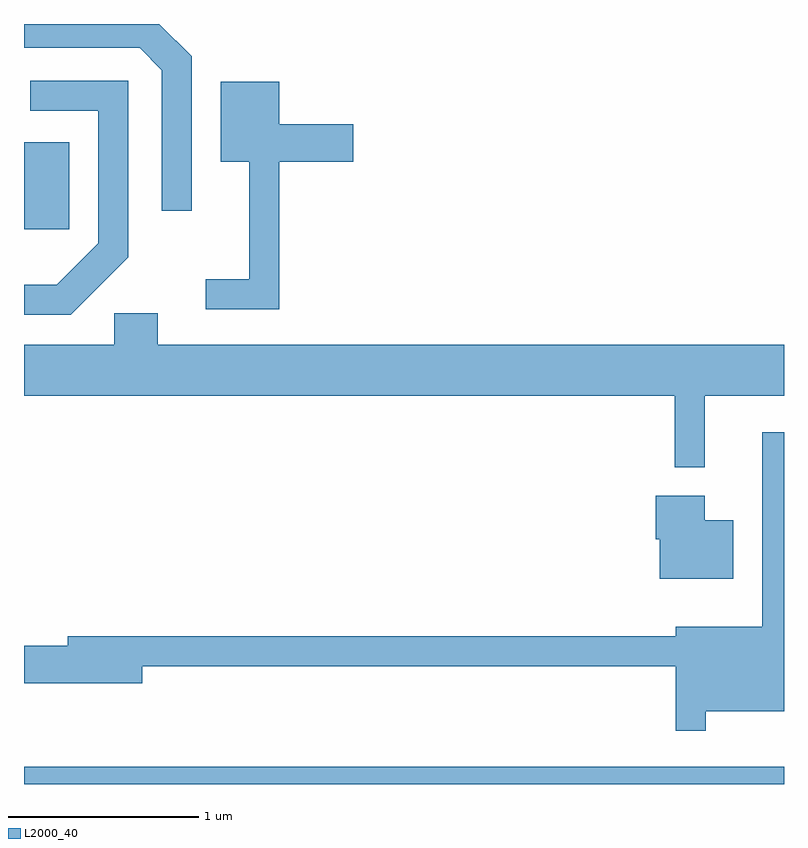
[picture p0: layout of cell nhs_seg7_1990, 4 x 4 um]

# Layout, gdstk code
import gdstk
lib = gdstk.Library(unit=1e-6, precision=1e-09)
def R(c, l, rs):  # rectangles x0, y0, x1, y1
    for r in rs: c.add(gdstk.rectangle(r[:2], r[2:], *l))
def P(c, l, *ps):  # polygons
    for p in ps: c.add(gdstk.Polygon(p, *l))
L2000_40 = (2000, 40)

nhs_seg7_1990 = lib.new_cell('nhs_seg7_1990')
R(nhs_seg7_1990, L2000_40, [(245.611,1732.252,249.611,1732.344), (245.611,1735.171,245.849,1735.629)])
P(nhs_seg7_1990, L2000_40, [(246.494,1736.082),(246.324,1736.252),(245.611,1736.252),(245.611,1736.126),(246.219,1736.126),(246.336,1736.009),(246.336,1735.268),(246.494,1735.268)],
  [(246.159,1735.024),(246.159,1735.954),(245.643,1735.954),(245.643,1735.796),(246.001,1735.796),(246.001,1735.097),(245.784,1734.879),(245.611,1734.879),(245.611,1734.721),(245.857,1734.721)],
  [(246.954,1735.526),(247.344,1735.526),(247.344,1735.724),(246.954,1735.724),(246.954,1735.949),(246.646,1735.949),(246.646,1735.526),(246.796,1735.526),(246.796,1734.909),(246.568,1734.909),(246.568,1734.751),(246.954,1734.751)],
  [(249.194,1734.296),(249.611,1734.296),(249.611,1734.564),(246.314,1734.564),(246.314,1734.729),(246.086,1734.729),(246.086,1734.564),(245.611,1734.564),(245.611,1734.296),(249.036,1734.296),(249.036,1733.918),(249.194,1733.918)],
  [(249.199,1732.636),(249.611,1732.636),(249.611,1734.103),(249.496,1734.103),(249.496,1733.079),(249.041,1733.079),(249.041,1733.029),(245.841,1733.029),(245.841,1732.979),(245.611,1732.979),(245.611,1732.781),(246.234,1732.781),(246.234,1732.871),(249.041,1732.871),(249.041,1732.533),(249.199,1732.533)],
  [(249.344,1733.639),(249.194,1733.639),(249.194,1733.769),(248.936,1733.769),(248.936,1733.541),(248.956,1733.541),(248.956,1733.331),(249.344,1733.331)])

lib.write_gds('nhs_seg7_1990.gds')
